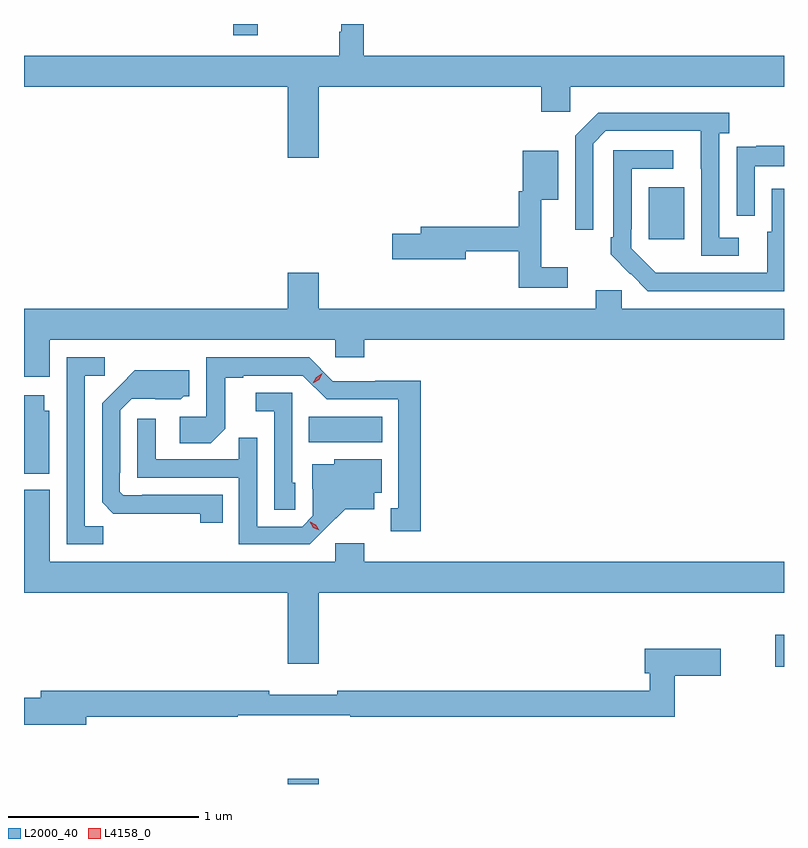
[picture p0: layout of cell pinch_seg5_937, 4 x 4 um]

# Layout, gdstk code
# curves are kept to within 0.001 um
import gdstk
lib = gdstk.Library(unit=1e-6, precision=1e-09)
def R(c, l, rs):  # rectangles x0, y0, x1, y1
    for r in rs: c.add(gdstk.rectangle(r[:2], r[2:], *l))
def P(c, l, *ps):  # polygons
    for p in ps: c.add(gdstk.Polygon(p, *l))
L2000_40 = (2000, 40)
L4158_0 = (4158, 0)

pinch_seg5_937 = lib.new_cell('pinch_seg5_937')
R(pinch_seg5_937, L2000_40, [(704.468,886.39,704.632,886.417), (707.034,887.006,707.08,887.176), (704.578,888.188,704.965,888.322), (706.367,889.257,706.555,889.531), (704.182,890.331,704.311,890.39)])
P(pinch_seg5_937, L2000_40, [(704.632,890.06),(705.803,890.06),(705.803,889.929),(705.954,889.929),(705.954,890.06),(707.08,890.06),(707.08,890.224),(704.867,890.224),(704.867,890.39),(704.75,890.39),(704.75,890.348),(704.739,890.348),(704.739,890.224),(703.08,890.224),(703.08,890.06),(704.468,890.06),(704.468,889.686),(704.632,889.686)],
  [(706.843,889.266),(706.74,889.266),(706.74,889.814),(706.792,889.814),(706.792,889.924),(706.102,889.924),(705.981,889.803),(705.981,889.308),(706.077,889.308),(706.077,889.761),(706.143,889.827),(706.643,889.827),(706.644,889.17),(706.843,889.17)],
  [(706.926,889.641),(707.08,889.641),(707.08,889.75),(706.933,889.75),(706.933,889.743),(706.831,889.743),(706.831,889.634),(706.83,889.634),(706.83,889.38),(706.926,889.38)],
  [(707.08,889.522),(707.015,889.522),(707.015,889.296),(706.991,889.296),(706.991,889.08),(706.404,889.081),(706.275,889.209),(706.275,889.309),(706.278,889.309),(706.278,889.629),(706.498,889.629),(706.498,889.725),(706.182,889.725),(706.182,889.267),(706.167,889.267),(706.167,889.179),(706.364,888.984),(707.08,888.984)],
  [(705.943,889.111),(705.803,889.111),(705.803,889.466),(705.892,889.466),(705.892,889.723),(705.704,889.723),(705.704,889.509),(705.685,889.509),(705.685,889.322),(705.167,889.322),(705.167,889.286),(705.018,889.286),(705.018,889.151),(705.406,889.151),(705.406,889.194),(705.685,889.194),(705.685,889.002),(705.943,889.002)],
  [(703.216,888.728),(704.718,888.728),(704.718,888.635),(704.87,888.635),(704.87,888.728),(707.08,888.728),(707.08,888.892),(706.227,888.892),(706.227,888.99),(706.088,888.99),(706.088,888.892),(704.632,888.892),(704.632,889.081),(704.468,889.081),(704.468,888.892),(703.08,888.892),(703.08,888.534),(703.216,888.534)],
  [(705.169,888.512),(704.928,888.512),(704.928,888.51),(704.706,888.51),(704.58,888.636),(704.04,888.636),(704.04,888.324),(703.899,888.324),(703.899,888.184),(704.063,888.184),(704.139,888.26),(704.139,888.528),(704.233,888.528),(704.233,888.54),(704.547,888.54),(704.673,888.414),(705.05,888.414),(705.05,887.841),(705.011,887.841),(705.011,887.721),(705.169,887.721)],
  [(703.497,887.747),(703.401,887.747),(703.401,888.54),(703.504,888.54),(703.504,888.636),(703.305,888.636),(703.305,887.652),(703.497,887.652)],
  [(704.126,887.913),(703.702,887.913),(703.702,887.91),(703.602,887.91),(703.584,887.928),(703.584,888.028),(703.587,888.028),(703.587,888.357),(703.647,888.417),(703.904,888.416),(703.92,888.432),(703.951,888.432),(703.951,888.568),(703.663,888.568),(703.491,888.394),(703.491,887.872),(703.55,887.813),(704.008,887.812),(704.008,887.766),(704.126,887.766)],
  [(704.508,887.976),(704.493,887.976),(704.493,888.45),(704.301,888.45),(704.301,888.353),(704.397,888.353),(704.397,887.833),(704.508,887.833)],
  [(703.213,888.354),(703.186,888.354),(703.186,888.436),(703.08,888.436),(703.08,888.023),(703.213,888.023)],
  [(704.668,887.735),(704.771,887.837),(704.923,887.837),(704.923,887.924),(704.962,887.924),(704.962,888.1),(704.712,888.1),(704.712,888.073),(704.597,888.073),(704.597,887.944),(704.601,887.944),(704.601,887.802),(704.544,887.745),(704.307,887.745),(704.307,888.212),(704.209,888.212),(704.209,888.099),(703.773,888.099),(703.773,888.313),(703.677,888.313),(703.677,888.003),(704.211,888.003),(704.211,887.652),(704.584,887.652)],
  [(704.632,887.396),(707.08,887.396),(707.08,887.56),(704.87,887.56),(704.87,887.656),(704.718,887.656),(704.718,887.56),(703.216,887.56),(703.216,887.938),(703.08,887.938),(703.08,887.396),(704.468,887.396),(704.468,887.022),(704.632,887.022)],
  [(703.408,886.744),(704.204,886.744),(704.204,886.752),(704.797,886.752),(704.797,886.744),(706.505,886.744),(706.505,886.961),(706.747,886.961),(706.747,887.103),(706.346,887.103),(706.346,886.973),(706.373,886.973),(706.373,886.88),(704.728,886.88),(704.728,886.861),(704.372,886.861),(704.372,886.88),(703.169,886.88),(703.169,886.844),(703.08,886.844),(703.08,886.702),(703.408,886.702)])
P(pinch_seg5_937, L4158_0, [(704.601,888.5),(704.601,888.5),(704.618,888.532),(704.65,888.551),(704.651,888.551),(704.651,888.551),(704.633,888.518),(704.601,888.5)],
  [(704.633,887.725),(704.602,887.74),(704.585,887.769),(704.585,887.77),(704.586,887.77),(704.616,887.754),(704.633,887.725),(704.633,887.725)])

lib.write_gds('pinch_seg5_937.gds')
